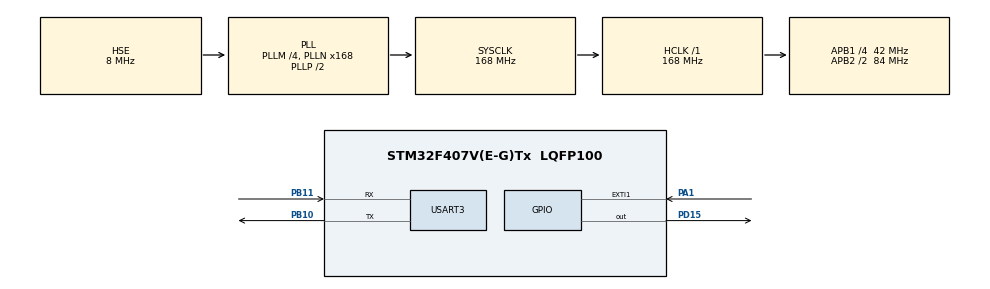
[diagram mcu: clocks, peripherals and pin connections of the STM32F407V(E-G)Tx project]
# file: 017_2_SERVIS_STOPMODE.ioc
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Mcu.Family=STM32F4
RCC.PLLSourceVirtual=RCC_PLLSOURCE_HSE
PH0-OSC_IN.Signal=RCC_OSC_IN
RCC.CortexFreq_Value=168000000
PB10.Mode=Asynchronous
RCC.APB1CLKDivider=RCC_HCLK_DIV4
PB11.Signal=USART3_RX
RCC.SYSCLKSource=RCC_SYSCLKSOURCE_PLLCLK
ProjectManager.StackSize=0x400
NVIC.EXTI1_IRQn=true\:0\:0\:false\:false\:true\:true\:true
PB11.Mode=Asynchronous
ProjectManager.TargetToolchain=STM32CubeIDE
RCC.HCLKFreq_Value=168000000
RCC.APB2TimFreq_Value=168000000
RCC.LSE_VALUE=32768
PA1.Signal=GPXTI1
RCC.AHBFreq_Value=168000000
PH0-OSC_IN.Mode=HSE-External-Oscillator
PB10.Signal=USART3_TX
RCC.HSE_VALUE=8000000
board=custom
RCC.VCOOutputFreq_Value=336000000
RCC.APB2Freq_Value=84000000
PH1-OSC_OUT.Signal=RCC_OSC_OUT
Mcu.Name=STM32F407V(E-G)Tx
PH1-OSC_OUT.Mode=HSE-External-Oscillator
RCC.48MHZClocksFreq_Value=84000000
RCC.SYSCLKFreq_VALUE=168000000
Mcu.Package=LQFP100
USART3.VirtualMode=VM_ASYNC
ProjectManager.HeapSize=0x200
RCC.HSI_VALUE=16000000
NVIC.PriorityGroup=NVIC_PRIORITYGROUP_4
RCC.APB2CLKDivider=RCC_HCLK_DIV2
RCC.PLLM=4
RCC.PLLN=168
RCC.APB1TimFreq_Value=84000000
RCC.APB1Freq_Value=42000000
PD15.Signal=GPIO_Output

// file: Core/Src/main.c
/* USER CODE BEGIN Header */
/**
  ******************************************************************************
  * @file           : main.c
  * @brief          : Main program body
  ******************************************************************************
  * @attention
  *
  * <h2><center>&copy; Copyright (c) 2021 STMicroelectronics.
  * All rights reserved.</center></h2>
  *
  * This software component is licensed by ST under BSD 3-Clause license,
  * the "License"; You may not use this file except in compliance with the
  * License. You may obtain a copy of the License at:
  *                        opensource.org/licenses/BSD-3-Clause
  *
  ******************************************************************************
  */
/* USER CODE END Header */
#include "main.h"

/* USER CODE BEGIN Includes */
#include "string.h"

/* USER CODE END Includes */

UART_HandleTypeDef huart3;

void SystemClock_Config(void);
static void MX_GPIO_Init(void);
static void MX_USART3_UART_Init(void);

int main(void)
{

  /* MCU Configuration--------------------------------------------------------*/

  /* Reset of all peripherals, Initializes the Flash interface and the Systick. */
  HAL_Init();

  /* Configure the system clock */
  SystemClock_Config();

  /* Initialize all configured peripherals */
  MX_GPIO_Init();
  MX_USART3_UART_Init();
  /* USER CODE BEGIN 2 */

  for (int i=0; i<20; i++)
  {
  	HAL_GPIO_TogglePin(GPIOD, GPIO_PIN_15);
  	HAL_Delay(200);
  }

  char *str = "stop mod basladi \r\n";
  HAL_UART_Transmit(&huart3, (uint8_t*)str, strlen(str), HAL_MAX_DELAY);

  HAL_SuspendTick(); // durdurma moduna girdiğinde otomatik reset atıyor bu yüzden bu sistemleri kapatıyoruz

  HAL_PWR_EnterSTOPMode(PWR_LOWPOWERREGULATOR_ON, PWR_STOPENTRY_WFI); // durdurma moduna giriyor

  SystemClock_Config();
  HAL_ResumeTick();

  for (int i=0; i<5; i++)
  {
  	HAL_GPIO_TogglePin(GPIOD, GPIO_PIN_15);
  	HAL_Delay(2000);
  }

  char *str2 = "stop mod durdu \r\n";
  HAL_UART_Transmit(&huart3, (uint8_t*)str2, strlen(str2), HAL_MAX_DELAY);

  /* USER CODE END 2 */

  /* Infinite loop */
  while (1)
  {

  }
}

void SystemClock_Config(void)
{
  RCC_OscInitTypeDef RCC_OscInitStruct = {0};
  RCC_ClkInitTypeDef RCC_ClkInitStruct = {0};

  /** Configure the main internal regulator output voltage
  */
  __HAL_RCC_PWR_CLK_ENABLE();
  __HAL_PWR_VOLTAGESCALING_CONFIG(PWR_REGULATOR_VOLTAGE_SCALE1);
  /** Initializes the RCC Oscillators according to the specified parameters
  * in the RCC_OscInitTypeDef structure.
  */
  RCC_OscInitStruct.OscillatorType = RCC_OSCILLATORTYPE_HSE;
  RCC_OscInitStruct.HSEState = RCC_HSE_ON;
  RCC_OscInitStruct.PLL.PLLState = RCC_PLL_ON;
  RCC_OscInitStruct.PLL.PLLSource = RCC_PLLSOURCE_HSE;
  RCC_OscInitStruct.PLL.PLLM = 4;
  RCC_OscInitStruct.PLL.PLLN = 168;
  RCC_OscInitStruct.PLL.PLLP = RCC_PLLP_DIV2;
  RCC_OscInitStruct.PLL.PLLQ = 4;
  if (HAL_RCC_OscConfig(&RCC_OscInitStruct) != HAL_OK)
  {
    Error_Handler();
  }
  /** Initializes the CPU, AHB and APB buses clocks
  */
  RCC_ClkInitStruct.ClockType = RCC_CLOCKTYPE_HCLK|RCC_CLOCKTYPE_SYSCLK
                              |RCC_CLOCKTYPE_PCLK1|RCC_CLOCKTYPE_PCLK2;
  RCC_ClkInitStruct.SYSCLKSource = RCC_SYSCLKSOURCE_PLLCLK;
  RCC_ClkInitStruct.AHBCLKDivider = RCC_SYSCLK_DIV1;
  RCC_ClkInitStruct.APB1CLKDivider = RCC_HCLK_DIV4;
  RCC_ClkInitStruct.APB2CLKDivider = RCC_HCLK_DIV2;

  if (HAL_RCC_ClockConfig(&RCC_ClkInitStruct, FLASH_LATENCY_5) != HAL_OK)
  {
    Error_Handler();
  }
}

static void MX_USART3_UART_Init(void)
{

  huart3.Instance = USART3;
  huart3.Init.BaudRate = 115200;
  huart3.Init.WordLength = UART_WORDLENGTH_8B;
  huart3.Init.StopBits = UART_STOPBITS_1;
  huart3.Init.Parity = UART_PARITY_NONE;
  huart3.Init.Mode = UART_MODE_TX_RX;
  huart3.Init.HwFlowCtl = UART_HWCONTROL_NONE;
  huart3.Init.OverSampling = UART_OVERSAMPLING_16;
  if (HAL_UART_Init(&huart3) != HAL_OK)
  {
    Error_Handler();
  }

}

static void MX_GPIO_Init(void)
{
  GPIO_InitTypeDef GPIO_InitStruct = {0};

  /* GPIO Ports Clock Enable */
  __HAL_RCC_GPIOH_CLK_ENABLE();
  __HAL_RCC_GPIOA_CLK_ENABLE();
  __HAL_RCC_GPIOB_CLK_ENABLE();
  __HAL_RCC_GPIOD_CLK_ENABLE();

  /*Configure GPIO pin Output Level */
  HAL_GPIO_WritePin(GPIOD, GPIO_PIN_15, GPIO_PIN_RESET);

  /*Configure GPIO pin : PA1 */
  GPIO_InitStruct.Pin = GPIO_PIN_1;
  GPIO_InitStruct.Mode = GPIO_MODE_IT_RISING;
  GPIO_InitStruct.Pull = GPIO_NOPULL;
  HAL_GPIO_Init(GPIOA, &GPIO_InitStruct);

  /*Configure GPIO pin : PD15 */
  GPIO_InitStruct.Pin = GPIO_PIN_15;
  GPIO_InitStruct.Mode = GPIO_MODE_OUTPUT_PP;
  GPIO_InitStruct.Pull = GPIO_NOPULL;
  GPIO_InitStruct.Speed = GPIO_SPEED_FREQ_LOW;
  HAL_GPIO_Init(GPIOD, &GPIO_InitStruct);

  /* EXTI interrupt init*/
  HAL_NVIC_SetPriority(EXTI1_IRQn, 0, 0);
  HAL_NVIC_EnableIRQ(EXTI1_IRQn);

}

void Error_Handler(void)
{
  __disable_irq();
  while (1)
  {
  }
}

/************************ (C) COPYRIGHT STMicroelectronics *****END OF FILE****/
